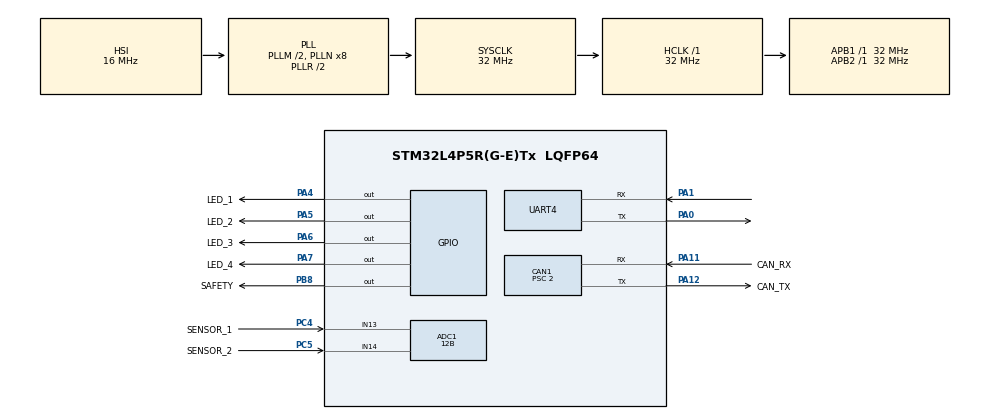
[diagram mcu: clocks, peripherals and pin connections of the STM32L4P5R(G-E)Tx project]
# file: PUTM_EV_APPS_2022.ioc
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ADC1.Channel-1\#ChannelRegularConversion=ADC_CHANNEL_13
ADC1.Channel-2\#ChannelRegularConversion=ADC_CHANNEL_14
ADC1.DMAContinuousRequests=ENABLE
ADC1.ExternalTrigConv=ADC_EXTERNALTRIG_T3_TRGO
ADC1.NbrOfConversion=2
ADC1.NbrOfConversionFlag=1
ADC1.OffsetNumber-1\#ChannelRegularConversion=ADC_OFFSET_NONE
ADC1.OffsetNumber-2\#ChannelRegularConversion=ADC_OFFSET_NONE
ADC1.Rank-1\#ChannelRegularConversion=1
ADC1.Rank-2\#ChannelRegularConversion=2
ADC1.Resolution=ADC_RESOLUTION_12B
ADC1.SamplingTime-1\#ChannelRegularConversion=ADC_SAMPLETIME_2CYCLES_5
ADC1.SamplingTime-2\#ChannelRegularConversion=ADC_SAMPLETIME_2CYCLES_5
ADC1.master=1
CAN1.BS1=CAN_BS1_13TQ
CAN1.BS2=CAN_BS2_2TQ
CAN1.CalculateBaudRate=1000000
CAN1.CalculateTimeBit=1000
CAN1.CalculateTimeQuantum=62.5
CAN1.Prescaler=2
Dma.ADC1.0.Direction=DMA_PERIPH_TO_MEMORY
Dma.ADC1.0.EventEnable=DISABLE
Dma.ADC1.0.Instance=DMA1_Channel1
Dma.ADC1.0.MemDataAlignment=DMA_MDATAALIGN_HALFWORD
Dma.ADC1.0.MemInc=DMA_MINC_ENABLE
Dma.ADC1.0.Mode=DMA_CIRCULAR
Dma.ADC1.0.PeriphDataAlignment=DMA_PDATAALIGN_HALFWORD
Dma.ADC1.0.PeriphInc=DMA_PINC_DISABLE
Dma.ADC1.0.Polarity=HAL_DMAMUX_REQ_GEN_RISING
Dma.ADC1.0.Priority=DMA_PRIORITY_HIGH
Dma.ADC1.0.RequestNumber=1
Dma.ADC1.0.SignalID=NONE
Dma.ADC1.0.SyncEnable=DISABLE
Dma.ADC1.0.SyncPolarity=HAL_DMAMUX_SYNC_NO_EVENT
Dma.ADC1.0.SyncRequestNumber=1
Dma.ADC1.0.SyncSignalID=NONE
Dma.Request0=ADC1
Mcu.Family=STM32L4
Mcu.Name=STM32L4P5R(G-E)Tx
Mcu.Package=LQFP64
NVIC.ADC1_2_IRQn=true\:0\:0\:false\:false\:true\:true\:true\:true
NVIC.CAN1_RX0_IRQn=true\:0\:0\:false\:false\:true\:true\:true\:true
NVIC.CAN1_RX1_IRQn=true\:0\:0\:false\:false\:true\:true\:true\:true
NVIC.DMA1_Channel1_IRQn=true\:0\:0\:false\:false\:true\:false\:true\:true
NVIC.PriorityGroup=NVIC_PRIORITYGROUP_4
NVIC.TIM2_IRQn=true\:0\:0\:false\:false\:true\:true\:true\:true
NVIC.TIM3_IRQn=true\:0\:0\:false\:false\:true\:true\:true\:true
PA0.Mode=Asynchronous
PA0.Signal=UART4_TX
PA1.Mode=Asynchronous
PA1.Signal=UART4_RX
PA11.GPIO_Label=CAN_RX
PA11.Mode=CAN_Activate
PA11.Signal=CAN1_RX
PA12.GPIO_Label=CAN_TX
PA12.Mode=CAN_Activate
PA12.Signal=CAN1_TX
PA13\ (JTMS/SWDIO).Mode=Serial_Wire
PA13\ (JTMS/SWDIO).Signal=SYS_JTMS-SWDIO
PA14\ (JTCK/SWCLK).Mode=Serial_Wire
PA14\ (JTCK/SWCLK).Signal=SYS_JTCK-SWCLK
PA4.GPIO_Label=LED_1
PA4.Signal=GPIO_Output
PA5.GPIO_Label=LED_2
PA5.Signal=GPIO_Output
PA6.GPIO_Label=LED_3
PA6.Signal=GPIO_Output
PA7.GPIO_Label=LED_4
PA7.Signal=GPIO_Output
PB8.GPIO_Label=SAFETY
PB8.Signal=GPIO_Output
PC4.GPIO_Label=SENSOR_1
PC4.Signal=ADCx_IN13
PC5.GPIO_Label=SENSOR_2
PC5.Signal=ADCx_IN14
PH0-OSC_IN\ (PH0).Mode=HSE-External-Oscillator
PH0-OSC_IN\ (PH0).Signal=RCC_OSC_IN
PH1-OSC_OUT\ (PH1).Mode=HSE-External-Oscillator
PH1-OSC_OUT\ (PH1).Signal=RCC_OSC_OUT
ProjectManager.HeapSize=0x200
ProjectManager.StackSize=0x400
ProjectManager.TargetToolchain=STM32CubeIDE
RCC.ADCFreq_Value=32000000
RCC.AHBFreq_Value=32000000
RCC.APB1Freq_Value=32000000
RCC.APB1TimFreq_Value=32000000
RCC.APB2Freq_Value=32000000
RCC.APB2TimFreq_Value=32000000
RCC.CortexFreq_Value=32000000
RCC.HCLKFreq_Value=32000000
RCC.HSE_VALUE=16000000
RCC.HSI48_VALUE=48000000
RCC.HSI_VALUE=16000000
RCC.LSE_VALUE=32768
RCC.MSI_VALUE=4000000
RCC.PLLM1=2
RCC.PLLM2=2
RCC.PLLSourceVirtual=RCC_PLLSOURCE_HSI
RCC.SYSCLKFreq_VALUE=32000000
RCC.SYSCLKSource=RCC_SYSCLKSOURCE_PLLCLK
RCC.USBFreq_Value=32000000
RCC.VCOOutputFreq_Value=64000000
SH.ADCx_IN13.0=ADC1_IN13,IN13-Single-Ended
SH.ADCx_IN14.0=ADC2_IN14
SH.ADCx_IN14.1=ADC1_IN14,IN14-Single-Ended
TIM2.Period=99
TIM2.Prescaler=3199
TIM2.TIM_MasterOutputTrigger=TIM_TRGO_UPDATE
TIM3.Period=99
TIM3.Prescaler=63
TIM3.TIM_MasterOutputTrigger=TIM_TRGO_UPDATE
VP_TIM2_VS_ClockSourceINT.Mode=Internal
VP_TIM3_VS_ClockSourceINT.Mode=Internal
board=custom

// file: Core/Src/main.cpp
/* USER CODE BEGIN Header */
/**
 ******************************************************************************
 * @file           : main.c
 * @brief          : Main program body
 ******************************************************************************
 * @attention
 *
 * <h2><center>&copy; Copyright (c) 2021 STMicroelectronics.
 * All rights reserved.</center></h2>
 *
 * This software component is licensed by ST under BSD 3-Clause license,
 * the "License"; You may not use this file except in compliance with the
 * License. You may obtain a copy of the License at:
 *                        opensource.org/licenses/BSD-3-Clause
 *s
 ******************************************************************************
 */
/* USER CODE END Header */
#include "main.h"

/* USER CODE BEGIN Includes */
#include <stdlib.h>
#include <algorithm>
#include <cstdint>
#include <stdbool.h>
#include <math.h>
#include "Pedal_Map.h"
#include "APPS_Meta.hpp"

#include "PUTM_EV_CAN_LIBRARY/lib/can_interface.hpp"

/* USER CODE END Includes */

/* USER CODE BEGIN PD */
#define huart1 huart4
#define hcan hcan1
/* USER CODE END PD */

ADC_HandleTypeDef hadc1;
DMA_HandleTypeDef hdma_adc1;

CAN_HandleTypeDef hcan1;

TIM_HandleTypeDef htim2;
TIM_HandleTypeDef htim3;

UART_HandleTypeDef huart4;

/* USER CODE BEGIN PV */
bool send_CAN_frame;
bool adc_cpl_flag = 0;
using namespace PUTM_CAN;

const std::size_t number_of_apps_sample = 100;
static_assert( number_of_apps_sample%2 == 0,
		"array size must be even because of two sensors" );

uint16_t apps_val_raw[number_of_apps_sample];

// FIXME variable to debug
const bool debug_flag = true;
int debug_data[10];
float diff_debug_data;
/* USER CODE END PV */

void SystemClock_Config(void);
static void MX_GPIO_Init(void);
static void MX_DMA_Init(void);
static void MX_ADC1_Init(void);
static void MX_CAN1_Init(void);
static void MX_UART4_Init(void);
static void MX_TIM2_Init(void);
static void MX_TIM3_Init(void);
/* USER CODE BEGIN PFP */

void My_CAN_init(void);
std::pair<int, int> get_raw_avg_apps_value();
bool get_sensors_plausibility(int apps_raw_value_1, int apps_raw_value_2);
void send_apps_value(int value);

/* USER CODE END PFP */

/* USER CODE BEGIN 0 */
void HAL_ADC_ConvCpltCallback(ADC_HandleTypeDef *hadc) {
	adc_cpl_flag = true;
}
/* USER CODE END 0 */

int main(void)
{

  /* MCU Configuration--------------------------------------------------------*/

  /* Reset of all peripherals, Initializes the Flash interface and the Systick. */
  HAL_Init();

  /* Configure the system clock */
  SystemClock_Config();

  /* Initialize all configured peripherals */
  MX_GPIO_Init();
  MX_DMA_Init();
  MX_ADC1_Init();
  MX_CAN1_Init();
  MX_UART4_Init();
  MX_TIM2_Init();
  MX_TIM3_Init();
  /* USER CODE BEGIN 2 */
	// INIT OTHER STUFF

	// Turn on safety
	HAL_GPIO_WritePin(SAFETY_GPIO_Port, SAFETY_Pin, GPIO_PIN_SET);

	My_CAN_init();

	HAL_ADC_Start_DMA(&hadc1, reinterpret_cast<uint32_t*>(apps_val_raw), 100);
	HAL_TIM_Base_Start(&htim3);
	HAL_TIM_Base_Start_IT(&htim2);

	HAL_GPIO_WritePin(LED_1_GPIO_Port, LED_1_Pin, GPIO_PIN_SET);
	HAL_GPIO_WritePin(LED_2_GPIO_Port, LED_2_Pin, GPIO_PIN_SET);
	HAL_GPIO_WritePin(LED_3_GPIO_Port, LED_3_Pin, GPIO_PIN_SET);

	HAL_Delay(100);
	uint8_t frame_couter = 0;
	bool sensor_plausibility_last = true;

	uint32_t time_change = 0;
  /* USER CODE END 2 */

  /* Infinite loop */
  /* USER CODE BEGIN WHILE */
	while (1)
	{

		auto bms_hv = PUTM_CAN::can.get_bms_hv_main();
		bool ts_button = PUTM_CAN::can.get_aq_ts_button_new_data();
		bool no_brake = PUTM_CAN::can.get_aq_main().brake_pressure_front < 3600;

		if (PUTM_CAN::can.get_steering_wheel_event_new_data()) {
				HAL_GPIO_WritePin(SAFETY_GPIO_Port, SAFETY_Pin, GPIO_PIN_SET);
				time_change = HAL_GetTick();
			}

		bool wait_after_start = time_change + 1000 > HAL_GetTick();
		if(bms_hv.device_state == PUTM_CAN::BMS_HV_states::AIR_opened and not wait_after_start){
			HAL_GPIO_WritePin(SAFETY_GPIO_Port, SAFETY_Pin, GPIO_PIN_RESET);
		}

		if (send_CAN_frame) {
			send_CAN_frame = false;
			adc_cpl_flag = false;

			auto [apps_avg_1, apps_avg_2] = get_raw_avg_apps_value();

			if( bool state = get_sensors_plausibility(apps_avg_1, apps_avg_2);
				!state && !sensor_plausibility_last )
			{
				// turn led on
				HAL_GPIO_WritePin(LED_1_GPIO_Port, LED_1_Pin, GPIO_PIN_RESET);

				// potentially turn safety off
				// HAL_GPIO_WritePin(SAFETY_GPIO_Port, SAFETY_Pin, GPIO_PIN_SET);

				// TODO or send max value to cause fast stop of CT
//				send_apps_value(0);

				Error_Handler();
			}
			else{
				sensor_plausibility_last = state;
			}

			// range calculation
			int apps_real_1 =  (int) std::round( ( (float)apps_avg_1 - (float)APPS_1_OFFSETTED_MIN) / scale_factor_1);
			int apps_real_2 =  (int) std::round( ( (float)apps_avg_2 - (float)APPS_2_OFFSETTED_MIN) / scale_factor_2);

			// clamping real values
			int apps_temp_1 = std::clamp(apps_real_1, APPS_REAL_MIN, APPS_REAL_MAX);
			int apps_temp_2 = std::clamp(apps_real_2, APPS_REAL_MIN, APPS_REAL_MAX);

			// get average value of two sensors
			int apps_temp = (apps_temp_1 + apps_temp_2) / 2;

			// non linear curve
			int apps_value_to_send = apps_nonlinear_curve(apps_temp, APPS_map_profile::APPS_MAP_1_linear);

			// frame counter to make sure that all frames are recived
			frame_couter++;
			frame_couter %= 100;

			int8_t sensor_diff_to_send{static_cast<int8_t>(std::clamp(diff_debug_data * 100'0.0f, -120.0f, 120.0f))};

			// send data
			PUTM_CAN::Apps_main apps_data{
				.pedal_position = static_cast<uint16_t>(apps_value_to_send),
				.counter = frame_couter,
				.position_diff = sensor_diff_to_send,
				.device_state = PUTM_CAN::Apps_states::Normal_operation
			};

			auto tx = PUTM_CAN::Can_tx_message(apps_data, PUTM_CAN::can_tx_header_APPS_MAIN);
			auto tx_status = tx.send(hcan1);
			if(HAL_StatusTypeDef::HAL_OK != tx_status){
				Error_Handler();
			}

			const auto brake_val = (apps_data.pedal_position > 20) ? 0 : 0xFFFF;
			PUTM_CAN::AQ_main aq {
				.brake_pressure_front = brake_val,
						.brake_pressure_back = brake_val,
			};
			auto tx_aq = PUTM_CAN::Can_tx_message(aq, PUTM_CAN::can_tx_header_AQ_MAIN);
			if (HAL_StatusTypeDef::HAL_OK not_eq tx_aq.send(hcan1)) {
				Error_Handler();
			}

			// FIXME debug data
			if constexpr(debug_flag){
				debug_data[0] = apps_avg_1;
				debug_data[1] = apps_avg_2;

				debug_data[2] = apps_real_1;
				debug_data[3] = apps_real_2;

				debug_data[4] = apps_temp_1;
				debug_data[5] = apps_temp_2;

				debug_data[6] = apps_temp;

				debug_data[7] = apps_value_to_send;
			}

		}
    /* USER CODE END WHILE */

	}
}

void SystemClock_Config(void)
{
  RCC_OscInitTypeDef RCC_OscInitStruct = {0};
  RCC_ClkInitTypeDef RCC_ClkInitStruct = {0};

  /** Configure the main internal regulator output voltage
  */
  if (HAL_PWREx_ControlVoltageScaling(PWR_REGULATOR_VOLTAGE_SCALE1) != HAL_OK)
  {
    Error_Handler();
  }

  /** Initializes the RCC Oscillators according to the specified parameters
  * in the RCC_OscInitTypeDef structure.
  */
  RCC_OscInitStruct.OscillatorType = RCC_OSCILLATORTYPE_HSI;
  RCC_OscInitStruct.HSIState = RCC_HSI_ON;
  RCC_OscInitStruct.HSICalibrationValue = RCC_HSICALIBRATION_DEFAULT;
  RCC_OscInitStruct.PLL.PLLState = RCC_PLL_ON;
  RCC_OscInitStruct.PLL.PLLSource = RCC_PLLSOURCE_HSI;
  RCC_OscInitStruct.PLL.PLLM = 2;
  RCC_OscInitStruct.PLL.PLLN = 8;
  RCC_OscInitStruct.PLL.PLLP = RCC_PLLP_DIV2;
  RCC_OscInitStruct.PLL.PLLQ = RCC_PLLQ_DIV2;
  RCC_OscInitStruct.PLL.PLLR = RCC_PLLR_DIV2;
  if (HAL_RCC_OscConfig(&RCC_OscInitStruct) != HAL_OK)
  {
    Error_Handler();
  }

  /** Initializes the CPU, AHB and APB buses clocks
  */
  RCC_ClkInitStruct.ClockType = RCC_CLOCKTYPE_HCLK|RCC_CLOCKTYPE_SYSCLK
                              |RCC_CLOCKTYPE_PCLK1|RCC_CLOCKTYPE_PCLK2;
  RCC_ClkInitStruct.SYSCLKSource = RCC_SYSCLKSOURCE_PLLCLK;
  RCC_ClkInitStruct.AHBCLKDivider = RCC_SYSCLK_DIV1;
  RCC_ClkInitStruct.APB1CLKDivider = RCC_HCLK_DIV1;
  RCC_ClkInitStruct.APB2CLKDivider = RCC_HCLK_DIV1;

  if (HAL_RCC_ClockConfig(&RCC_ClkInitStruct, FLASH_LATENCY_1) != HAL_OK)
  {
    Error_Handler();
  }
}

static void MX_ADC1_Init(void)
{

  ADC_MultiModeTypeDef multimode = {0};
  ADC_ChannelConfTypeDef sConfig = {0};

  /** Common config
  */
  hadc1.Instance = ADC1;
  hadc1.Init.ClockPrescaler = ADC_CLOCK_ASYNC_DIV1;
  hadc1.Init.Resolution = ADC_RESOLUTION_12B;
  hadc1.Init.DataAlign = ADC_DATAALIGN_RIGHT;
  hadc1.Init.ScanConvMode = ADC_SCAN_ENABLE;
  hadc1.Init.EOCSelection = ADC_EOC_SINGLE_CONV;
  hadc1.Init.LowPowerAutoWait = DISABLE;
  hadc1.Init.ContinuousConvMode = DISABLE;
  hadc1.Init.NbrOfConversion = 2;
  hadc1.Init.DiscontinuousConvMode = DISABLE;
  hadc1.Init.ExternalTrigConv = ADC_EXTERNALTRIG_T3_TRGO;
  hadc1.Init.ExternalTrigConvEdge = ADC_EXTERNALTRIGCONVEDGE_RISING;
  hadc1.Init.DMAContinuousRequests = ENABLE;
  hadc1.Init.Overrun = ADC_OVR_DATA_PRESERVED;
  hadc1.Init.OversamplingMode = DISABLE;
  if (HAL_ADC_Init(&hadc1) != HAL_OK)
  {
    Error_Handler();
  }

  /** Configure the ADC multi-mode
  */
  multimode.Mode = ADC_MODE_INDEPENDENT;
  if (HAL_ADCEx_MultiModeConfigChannel(&hadc1, &multimode) != HAL_OK)
  {
    Error_Handler();
  }

  /** Configure Regular Channel
  */
  sConfig.Channel = ADC_CHANNEL_13;
  sConfig.Rank = ADC_REGULAR_RANK_1;
  sConfig.SamplingTime = ADC_SAMPLETIME_2CYCLES_5;
  sConfig.SingleDiff = ADC_SINGLE_ENDED;
  sConfig.OffsetNumber = ADC_OFFSET_NONE;
  sConfig.Offset = 0;
  if (HAL_ADC_ConfigChannel(&hadc1, &sConfig) != HAL_OK)
  {
    Error_Handler();
  }

  /** Configure Regular Channel
  */
  sConfig.Channel = ADC_CHANNEL_14;
  sConfig.Rank = ADC_REGULAR_RANK_2;
  if (HAL_ADC_ConfigChannel(&hadc1, &sConfig) != HAL_OK)
  {
    Error_Handler();
  }

}

static void MX_CAN1_Init(void)
{

  hcan1.Instance = CAN1;
  hcan1.Init.Prescaler = 2;
  hcan1.Init.Mode = CAN_MODE_NORMAL;
  hcan1.Init.SyncJumpWidth = CAN_SJW_1TQ;
  hcan1.Init.TimeSeg1 = CAN_BS1_13TQ;
  hcan1.Init.TimeSeg2 = CAN_BS2_2TQ;
  hcan1.Init.TimeTriggeredMode = DISABLE;
  hcan1.Init.AutoBusOff = DISABLE;
  hcan1.Init.AutoWakeUp = DISABLE;
  hcan1.Init.AutoRetransmission = DISABLE;
  hcan1.Init.ReceiveFifoLocked = DISABLE;
  hcan1.Init.TransmitFifoPriority = DISABLE;
  if (HAL_CAN_Init(&hcan1) != HAL_OK)
  {
    Error_Handler();
  }

}

static void MX_TIM2_Init(void)
{

  TIM_ClockConfigTypeDef sClockSourceConfig = {0};
  TIM_MasterConfigTypeDef sMasterConfig = {0};

  htim2.Instance = TIM2;
  htim2.Init.Prescaler = 3199;
  htim2.Init.CounterMode = TIM_COUNTERMODE_UP;
  htim2.Init.Period = 99;
  htim2.Init.ClockDivision = TIM_CLOCKDIVISION_DIV1;
  htim2.Init.AutoReloadPreload = TIM_AUTORELOAD_PRELOAD_DISABLE;
  if (HAL_TIM_Base_Init(&htim2) != HAL_OK)
  {
    Error_Handler();
  }
  sClockSourceConfig.ClockSource = TIM_CLOCKSOURCE_INTERNAL;
  if (HAL_TIM_ConfigClockSource(&htim2, &sClockSourceConfig) != HAL_OK)
  {
    Error_Handler();
  }
  sMasterConfig.MasterOutputTrigger = TIM_TRGO_UPDATE;
  sMasterConfig.MasterSlaveMode = TIM_MASTERSLAVEMODE_DISABLE;
  if (HAL_TIMEx_MasterConfigSynchronization(&htim2, &sMasterConfig) != HAL_OK)
  {
    Error_Handler();
  }

}

static void MX_TIM3_Init(void)
{

  TIM_ClockConfigTypeDef sClockSourceConfig = {0};
  TIM_MasterConfigTypeDef sMasterConfig = {0};

  htim3.Instance = TIM3;
  htim3.Init.Prescaler = 63;
  htim3.Init.CounterMode = TIM_COUNTERMODE_UP;
  htim3.Init.Period = 99;
  htim3.Init.ClockDivision = TIM_CLOCKDIVISION_DIV1;
  htim3.Init.AutoReloadPreload = TIM_AUTORELOAD_PRELOAD_DISABLE;
  if (HAL_TIM_Base_Init(&htim3) != HAL_OK)
  {
    Error_Handler();
  }
  sClockSourceConfig.ClockSource = TIM_CLOCKSOURCE_INTERNAL;
  if (HAL_TIM_ConfigClockSource(&htim3, &sClockSourceConfig) != HAL_OK)
  {
    Error_Handler();
  }
  sMasterConfig.MasterOutputTrigger = TIM_TRGO_UPDATE;
  sMasterConfig.MasterSlaveMode = TIM_MASTERSLAVEMODE_DISABLE;
  if (HAL_TIMEx_MasterConfigSynchronization(&htim3, &sMasterConfig) != HAL_OK)
  {
    Error_Handler();
  }

}

static void MX_UART4_Init(void)
{

  huart4.Instance = UART4;
  huart4.Init.BaudRate = 115200;
  huart4.Init.WordLength = UART_WORDLENGTH_8B;
  huart4.Init.StopBits = UART_STOPBITS_1;
  huart4.Init.Parity = UART_PARITY_NONE;
  huart4.Init.Mode = UART_MODE_TX_RX;
  huart4.Init.HwFlowCtl = UART_HWCONTROL_NONE;
  huart4.Init.OverSampling = UART_OVERSAMPLING_16;
  huart4.Init.OneBitSampling = UART_ONE_BIT_SAMPLE_DISABLE;
  huart4.Init.ClockPrescaler = UART_PRESCALER_DIV1;
  huart4.AdvancedInit.AdvFeatureInit = UART_ADVFEATURE_NO_INIT;
  if (HAL_UART_Init(&huart4) != HAL_OK)
  {
    Error_Handler();
  }
  if (HAL_UARTEx_SetTxFifoThreshold(&huart4, UART_TXFIFO_THRESHOLD_1_8) != HAL_OK)
  {
    Error_Handler();
  }
  if (HAL_UARTEx_SetRxFifoThreshold(&huart4, UART_RXFIFO_THRESHOLD_1_8) != HAL_OK)
  {
    Error_Handler();
  }
  if (HAL_UARTEx_DisableFifoMode(&huart4) != HAL_OK)
  {
    Error_Handler();
  }

}

static void MX_DMA_Init(void)
{

  /* DMA controller clock enable */
  __HAL_RCC_DMAMUX1_CLK_ENABLE();
  __HAL_RCC_DMA1_CLK_ENABLE();

  /* DMA interrupt init */
  /* DMA1_Channel1_IRQn interrupt configuration */
  HAL_NVIC_SetPriority(DMA1_Channel1_IRQn, 0, 0);
  HAL_NVIC_EnableIRQ(DMA1_Channel1_IRQn);

}

static void MX_GPIO_Init(void)
{
  GPIO_InitTypeDef GPIO_InitStruct = {0};

  /* GPIO Ports Clock Enable */
  __HAL_RCC_GPIOH_CLK_ENABLE();
  __HAL_RCC_GPIOA_CLK_ENABLE();
  __HAL_RCC_GPIOC_CLK_ENABLE();
  __HAL_RCC_GPIOB_CLK_ENABLE();

  /*Configure GPIO pin Output Level */
  HAL_GPIO_WritePin(GPIOA, LED_1_Pin|LED_2_Pin|LED_3_Pin|LED_4_Pin, GPIO_PIN_RESET);

  /*Configure GPIO pin Output Level */
  HAL_GPIO_WritePin(SAFETY_GPIO_Port, SAFETY_Pin, GPIO_PIN_RESET);

  /*Configure GPIO pins : LED_1_Pin LED_2_Pin LED_3_Pin LED_4_Pin */
  GPIO_InitStruct.Pin = LED_1_Pin|LED_2_Pin|LED_3_Pin|LED_4_Pin;
  GPIO_InitStruct.Mode = GPIO_MODE_OUTPUT_PP;
  GPIO_InitStruct.Pull = GPIO_NOPULL;
  GPIO_InitStruct.Speed = GPIO_SPEED_FREQ_LOW;
  HAL_GPIO_Init(GPIOA, &GPIO_InitStruct);

  /*Configure GPIO pin : SENSOR_2_Pin */
  GPIO_InitStruct.Pin = SENSOR_2_Pin;
  GPIO_InitStruct.Mode = GPIO_MODE_ANALOG_ADC_CONTROL;
  GPIO_InitStruct.Pull = GPIO_NOPULL;
  HAL_GPIO_Init(SENSOR_2_GPIO_Port, &GPIO_InitStruct);

  /*Configure GPIO pin : SAFETY_Pin */
  GPIO_InitStruct.Pin = SAFETY_Pin;
  GPIO_InitStruct.Mode = GPIO_MODE_OUTPUT_PP;
  GPIO_InitStruct.Pull = GPIO_NOPULL;
  GPIO_InitStruct.Speed = GPIO_SPEED_FREQ_LOW;
  HAL_GPIO_Init(SAFETY_GPIO_Port, &GPIO_InitStruct);

}

/* USER CODE BEGIN 4 */
void My_CAN_init(void) {
	constexpr static CAN_FilterTypeDef sFilterConfig{
		.FilterIdHigh = 0x0000,
		.FilterIdLow = 0x0000,
		.FilterMaskIdHigh = 0x0000,
		.FilterMaskIdLow = 0x0000,
		.FilterFIFOAssignment = CAN_RX_FIFO0,
		.FilterBank = 0,
		.FilterMode = CAN_FILTERMODE_IDMASK,
		.FilterScale = CAN_FILTERSCALE_32BIT,
		.FilterActivation = ENABLE,
		.SlaveStartFilterBank = 14
	};

	if (HAL_CAN_ConfigFilter(&hcan, &sFilterConfig) != HAL_OK) {
		Error_Handler();
	}

	if (HAL_CAN_Start(&hcan) != HAL_OK) {
		Error_Handler();
	}

	if (HAL_CAN_ActivateNotification(&hcan, CAN_IT_RX_FIFO0_MSG_PENDING | CAN_IT_TX_MAILBOX_EMPTY) != HAL_OK) {
		Error_Handler();
	}
}

std::pair<int, int> get_raw_avg_apps_value(){
	float apps_temp_raw_sum_1 = 0;
	float apps_temp_raw_sum_2 = 0;

	for (unsigned int i = 0; i < number_of_apps_sample; i = i + 2) {
		apps_temp_raw_sum_1 += apps_val_raw[i];
		apps_temp_raw_sum_2 += apps_val_raw[i + 1];
	}

	int apps_temp_raw_avg_1 = (int)(apps_temp_raw_sum_1 / ((float)number_of_apps_sample / 2.0f));
	int apps_temp_raw_avg_2 = (int)(apps_temp_raw_sum_2 / ((float)number_of_apps_sample / 2.0f));

	return std::make_pair(apps_temp_raw_avg_1, apps_temp_raw_avg_2);
}

bool get_sensors_plausibility(int apps_raw_value_1, int apps_raw_value_2){

	/* T 11.8.9 Implausibility is defined as a deviation of more than ten percentage points pedal travel
				between any of the used APPSs or any failure according to T 11.9.
	 */

	// fraction of full scale position
	float apps_scaled_1 = ((float)apps_raw_value_1 - (float)APPS_1_OFFSETTED_MIN) / (float)APPS_1_RAW_FULLSCALE;
	float apps_scaled_2 = ((float)apps_raw_value_2 - (float)APPS_2_OFFSETTED_MIN) / (float)APPS_2_RAW_FULLSCALE;

	float diff = fabsf(apps_scaled_1 - apps_scaled_2);

	debug_data[9] = static_cast<int>(diff*100);
	diff_debug_data = diff;

	if( diff > sensor_implausibility_factor){
		return false;
	}
	else{
		return true;
	}

}

/* USER CODE END 4 */

void Error_Handler(void)
{
	__disable_irq();
	while (1)
	{
	}
}
